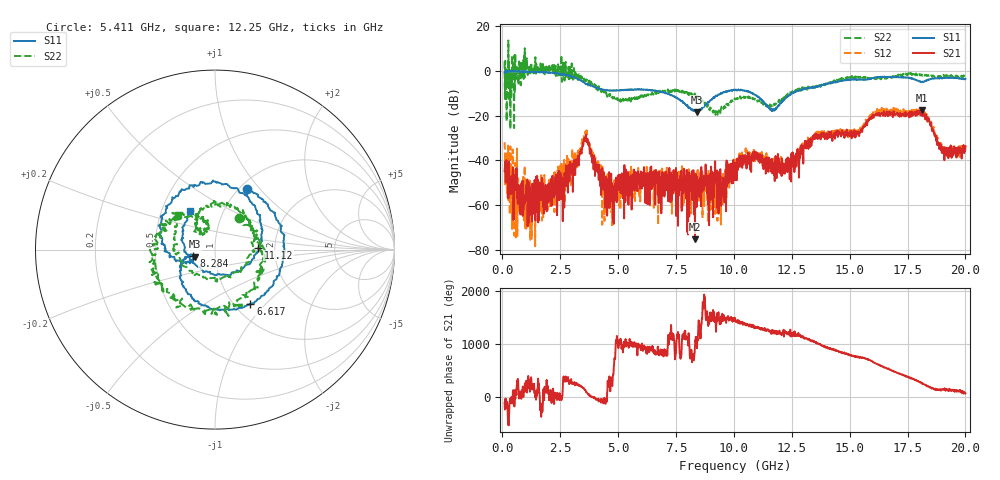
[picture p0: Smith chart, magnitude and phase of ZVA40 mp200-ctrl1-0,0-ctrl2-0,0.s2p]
#  HZ  S  DB  R  50.00
! Rohde & Schwarz ZVA40 4Ports - Version 3.60 - 1145.1110k42 SN: 100347
! Date: 2016-12-01 06:21:32
! Measurements: S11 S21 S12 S22
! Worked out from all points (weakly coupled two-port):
!   1601 points, 100 MHz to 20 GHz, reference 50 ohm
!   highest |S21| = -17.57 dB at 18.11 GHz (marker M1); lowest = -75.4 dB at 8.321 GHz (marker M2)
!   lowest |S11| = -18.4 dB at 8.408 GHz (marker M3), VSWR 1.27, Z = 39.7 - j3.14 ohm
!   |S11| at or under -10 dB: 7.099 GHz to 9.446 GHz (2.347 GHz wide, 28.4 % of centre); 10.79947 GHz to 10.83275 GHz (33.29 MHz wide, 0.308 % of centre); 10.83 GHz to 12.5 GHz (1.666 GHz wide, 14.3 % of centre)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
!   |S22| runs from -26.0 to 13.7 dB; largest |S21 - S12| = 0.066
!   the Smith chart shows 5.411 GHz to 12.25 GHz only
!   S11 on the Smith chart (normalised r, x): 5.411 GHz: 1.08, +0.85; 6.617 GHz: 1.18, -0.83; 8.284 GHz: 0.78, -0.06; 11.12 GHz: 1.64, +0.04; 12.25 GHz: 0.70, +0.32
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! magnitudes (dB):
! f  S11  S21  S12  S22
! 100 MHz  -0.8  -44.9  -31.9  4.3
! 609.9 MHz  -0.2  -43.5  -58.8  -2.0
! 1.244 GHz  -0.4  -61.5  -50.5  3.7
! 2.625 GHz  -1.5  -51.8  -60.7  -2.0
! 3.421 GHz  -4.4  -37.0  -32.5  -2.4
! 3.67 GHz  -5.9  -30.6  -29.5  -4.8
! 4.727 GHz  -8.7  -58.1  -58.4  -11.7
! 5.411 GHz  -8.4  -45.9  -51.1  -13.1
! 6.617 GHz  -8.8  -44.9  -44.6  -9.8
! 6.742 GHz  -9.0  -55.8  -49.8  -10.0
! 8.284 GHz  -18.0  -49.0  -55.2  -11.0
! 8.321 GHz  -17.7  -75.4  -57.0  -11.4
! 8.408 GHz  -18.4  -60.3  -51.1  -11.7
! 9.503 GHz  -10.0  -50.0  -52.4  -17.0
! 10.05 GHz  -8.5  -43.3  -42.5  -12.4
! 11.12 GHz  -12.3  -41.2  -36.0  -14.0
! 12.25 GHz  -11.9  -42.8  -43.7  -11.0
! 13.37 GHz  -7.3  -30.5  -29.7  -7.4
! 16.69 GHz  -2.6  -18.5  -16.7  -3.3
! 18.11 GHz  -4.9  -17.6  -17.7  -1.7
! 19.04 GHz  -3.2  -35.5  -35.3  -1.9
! 20 GHz  -3.5  -33.7  -33.3  -2.6
